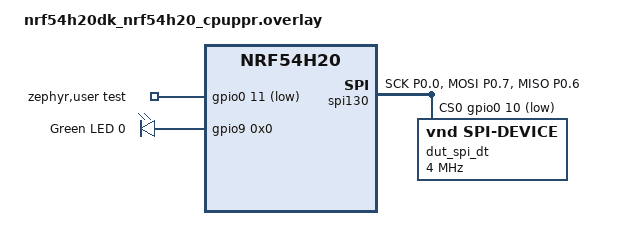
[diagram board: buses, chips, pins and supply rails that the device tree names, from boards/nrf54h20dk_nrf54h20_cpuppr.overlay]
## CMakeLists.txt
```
#
# Copyright (c) 2024 Nordic Semiconductor ASA
#
# SPDX-License-Identifier: LicenseRef-Nordic-5-Clause
#

cmake_minimum_required(VERSION 3.20.0)

find_package(Zephyr REQUIRED HINTS $ENV{ZEPHYR_BASE})

if(NOT SYSBUILD)
  message(FATAL_ERROR
    " This is a multi-image application that should be built using sysbuild.\n"
    " Add --sysbuild argument to west build command to prepare all the images."
  )
endif()

project(idle_spim_loopback)

target_sources(app PRIVATE src/main.c)
```

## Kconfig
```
#
# Copyright (c) 2024 Nordic Semiconductor ASA
#
# SPDX-License-Identifier: LicenseRef-Nordic-5-Clause
#

config TEST_SLEEP_DURATION_MS
	int "Amount of time (in milliseconds) the core is sleeping"
	default 1000
	help
	  Set sleep duration to TEST_SLEEP_DURATION_MS milliseconds.
	  Based on the value of 'min-residency-us' specified for each power state defined in the DTS,
	  core enters the lowest possible power state.

config DATA_FIELD
	int "Number of bytes exchanged in single SPI transceive operation"
	default 4
	help
	  Set number of bytes exchanged in single spi_transceive() operation.
	  Values from 1 to 16 bytes are confirmed to work correctly.

config TEST_SPI_HOLD_ON_CS
	bool "Enable / Disable test for SPI chip select hold"
	help
	  By default, each spi_transceive_dt() activates SPI CS signal before transmission and
	  deactivates it after the transmission has completed.
	  When this KConfig is enabled, first SPI transmission activates SPI CS signal and
	  it is kept active until spi_release() is executed.

config TEST_SPI_LOCK_ON
	bool "Test with SPI lock enabled/disabled"
	help
	  Keep the device locked after the transaction for the current config.
	  When this KConfig is enabled, SPI device is locked until spi_release() is executed.

config TEST_SPI_RELEASE_BEFORE_SLEEP
	bool "Enable / Disable release of the SPI device"
	depends on TEST_SPI_HOLD_ON_CS || TEST_SPI_LOCK_ON
	default y
	help
	  When this KConfig is enabled, SPI is released before entering low power state.
	  When TEST_SPI_HOLD_ON_CS=y and TEST_SPI_RELEASE_BEFORE_SLEEP=y then
	  each test iteration will see one rising and one falling edge on SPI CS signal.
	  When TEST_SPI_HOLD_ON_CS=y and TEST_SPI_RELEASE_BEFORE_SLEEP=n then
	  first test iteration will see SPI CS signal activation. Next test iterations
	  will NOT observe changes on SPI CS signal.

config APP_PROVIDE_PM_HOOKS
	bool "Application provides PM hooks"
	default y if SOC_NRF54H20_CPUPPR
	select HAS_PM
	select HAS_POWEROFF

source "Kconfig.zephyr"
```

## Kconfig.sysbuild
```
#
# Copyright (c) 2026 Nordic Semiconductor ASA
#
# SPDX-License-Identifier: LicenseRef-Nordic-5-Clause
#

if SUPPORT_NETCORE

choice NETCORE
	default NETCORE_REMOTE_SLEEP_FOREVER

config NETCORE_REMOTE_SLEEP_FOREVER
	bool "Remote sleep forever image"

endchoice

config NETCORE_IMAGE_NAME
	default "remote_sleep_forever" if NETCORE_REMOTE_SLEEP_FOREVER

config NETCORE_IMAGE_PATH
	default "$(ZEPHYR_NRF_MODULE_DIR)/tests/benchmarks/power_consumption/common/remote_sleep_forever" if NETCORE_REMOTE_SLEEP_FOREVER

endif # SUPPORT_NETCORE

if SUPPORT_PPRCORE

choice PPRCORE
	default PPRCORE_REMOTE_SLEEP_FOREVER if SOC_NRF9251_CPUAPP
	default PPRCORE_NONE

config PPRCORE_REMOTE_SLEEP_FOREVER
	bool "Remote sleep forever image"

endchoice

config PPRCORE_IMAGE_NAME
	default "remote_sleep_forever" if PPRCORE_REMOTE_SLEEP_FOREVER

config PPRCORE_IMAGE_PATH
	default "$(ZEPHYR_NRF_MODULE_DIR)/tests/benchmarks/power_consumption/common/remote_sleep_forever" if PPRCORE_REMOTE_SLEEP_FOREVER

endif # SUPPORT_PPRCORE

source "share/sysbuild/Kconfig"
```

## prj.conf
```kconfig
CONFIG_PRINTK=y
CONFIG_LOG=y
CONFIG_SPI=y
CONFIG_GPIO=y
CONFIG_ASSERT=y
```

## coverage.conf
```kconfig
CONFIG_SOC_NRF54H20_CPURAD_ENABLE=y
CONFIG_SPI=y
CONFIG_GPIO=y

CONFIG_PM=y
CONFIG_PM_DEVICE=y
CONFIG_PM_DEVICE_RUNTIME=y
CONFIG_POWEROFF=y

CONFIG_BOOT_BANNER=n
CONFIG_NCS_BOOT_BANNER=n
CONFIG_ASSERT=n
CONFIG_CLOCK_CONTROL=n

CONFIG_PRINTK=y
CONFIG_LOG=n
CONFIG_CONSOLE=y
CONFIG_UART_CONSOLE=y

CONFIG_LOG_BUFFER_SIZE=16384
```

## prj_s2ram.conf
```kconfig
CONFIG_PM=y
CONFIG_POWEROFF=y

CONFIG_PM_DEVICE=y
CONFIG_PM_DEVICE_RUNTIME=y

# Enable for debugging purposes only
CONFIG_BOOT_BANNER=n
CONFIG_NCS_BOOT_BANNER=n
CONFIG_PRINTK=n
CONFIG_LOG=n
CONFIG_CONSOLE=n
CONFIG_UART_CONSOLE=n
CONFIG_SERIAL=n

CONFIG_SPI=y
CONFIG_GPIO=y
CONFIG_ASSERT=y
```

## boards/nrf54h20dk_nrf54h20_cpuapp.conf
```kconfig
#
# Copyright (c) 2025 Nordic Semiconductor ASA
#
# SPDX-License-Identifier: LicenseRef-Nordic-5-Clause
#

CONFIG_SOC_NRF54H20_CPURAD_ENABLE=y
CONFIG_PM=y
CONFIG_PM_DEVICE=y
CONFIG_PM_DEVICE_RUNTIME=y
CONFIG_POWEROFF=y
```

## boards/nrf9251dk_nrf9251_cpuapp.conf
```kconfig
#
# Copyright (c) 2026 Nordic Semiconductor ASA
#
# SPDX-License-Identifier: LicenseRef-Nordic-5-Clause
#

CONFIG_PM=y
CONFIG_PM_DEVICE=y
CONFIG_PM_DEVICE_RUNTIME=y
CONFIG_POWEROFF=y
```

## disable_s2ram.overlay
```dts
&s2ram {
	status = "disabled";
};
```

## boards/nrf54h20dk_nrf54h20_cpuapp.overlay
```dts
/*
 * Copyright (c) 2024 Nordic Semiconductor ASA
 *
 * SPDX-License-Identifier: LicenseRef-Nordic-5-Clause
 */

/* Test requires two wire connections:
 *  - SPIM_MOSI with SPIM_MISO -> P0.07 - P0.06;
 *  - SPI cs-gpios with test-gpios -> P0.10 - P0.11.
 * Test-gpios and cs-gpios must have identical active level flag.
 */

/ {
	aliases {
		led = &led0;
		/delete-property/ led1;
	};

	zephyr,user {
		test-gpios = <&gpio0 11 GPIO_ACTIVE_LOW>;
	};
};

/delete-node/ &led1;

&gpiote130 {
	status = "okay";
	owned-channels = <0>;
};

&pinctrl {
	spi130_default_alt: spi130_default_alt {
		group1 {
			psels = <NRF_PSEL(SPIM_SCK, 0, 0)>,
				<NRF_PSEL(SPIM_MOSI, 0, 7)>,
				<NRF_PSEL(SPIM_MISO, 0, 6)>;
		};
	};

	spi130_sleep_alt: spi130_sleep_alt {
		group1 {
			psels = <NRF_PSEL(SPIM_SCK, 0, 0)>,
				<NRF_PSEL(SPIM_MISO, 0, 6)>,
				<NRF_PSEL(SPIM_MOSI, 0, 7)>;
			low-power-enable;
		};
	};
};

&spi130 {
	compatible = "nordic,nrf-spim";
	status = "okay";
	pinctrl-0 = <&spi130_default_alt>;
	pinctrl-1 = <&spi130_sleep_alt>;
	pinctrl-names = "default", "sleep";
	overrun-character = <0x00>;
	memory-regions = <&cpuapp_dma_region>;
	cs-gpios = <&gpio0 10 GPIO_ACTIVE_LOW>;
	zephyr,pm-device-runtime-auto;

	dut_spi_dt: test-spi-dev@0 {
		compatible = "vnd,spi-device";
		reg = <0>;
		spi-max-frequency = <DT_FREQ_M(4)>;
	};
};
```

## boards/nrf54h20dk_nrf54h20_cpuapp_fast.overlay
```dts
/*
 * Copyright (c) 2024 Nordic Semiconductor ASA
 *
 * SPDX-License-Identifier: LicenseRef-Nordic-5-Clause
 */

/* Test requires two wire connections:
 *  - SPIM_MOSI with SPIM_MISO -> P7.06 - P7.07;
 *  - SPI cs-gpios with test-gpios -> P0.10 - P0.11.
 * Test-gpios and cs-gpios must have identical active level flag.
 */

/ {
	aliases {
		led = &led0;
		/delete-property/ led1;
	};

	zephyr,user {
		test-gpios = <&gpio0 11 GPIO_ACTIVE_HIGH>;
	};
};

/delete-node/ &led1;

&gpiote130 {
	status = "okay";
	owned-channels = <0>;
};

&pinctrl {
	spi120_default: spi120_default {
		group1 {
			psels = <NRF_PSEL(SPIM_SCK, 7, 3)>,
				<NRF_PSEL(SPIM_MISO, 7, 6)>,
				<NRF_PSEL(SPIM_MOSI, 7, 7)>;
		};
	};

	spi120_sleep: spi120_sleep {
		group1 {
			psels = <NRF_PSEL(SPIM_SCK, 7, 3)>,
				<NRF_PSEL(SPIM_MISO, 7, 6)>,
				<NRF_PSEL(SPIM_MOSI, 7, 7)>;
			low-power-enable;
		};
	};
};

&spi130 {
	status = "disabled";
	/delete-property/ dut_spi_dt;
};

&spi120 {
	compatible = "nordic,nrf-spim";
	status = "okay";
	pinctrl-0 = <&spi120_default>;
	pinctrl-1 = <&spi120_sleep>;
	pinctrl-names = "default", "sleep";
	overrun-character = <0x00>;
	memory-regions = <&dma_fast_region>;
	cs-gpios = <&gpio0 10 GPIO_ACTIVE_HIGH>;
	zephyr,pm-device-runtime-auto;

	dut_spi_dt: test-spi-dev@0 {
		compatible = "vnd,spi-device";
		reg = <0>;
		spi-max-frequency = <DT_FREQ_M(4)>;
	};
};

&dma_fast_region {
	status = "okay";
};
```

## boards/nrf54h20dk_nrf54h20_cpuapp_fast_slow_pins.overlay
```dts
/*
 * Copyright (c) 2024 Nordic Semiconductor ASA
 *
 * SPDX-License-Identifier: LicenseRef-Nordic-5-Clause
 */

/* Test requires two wire connections:
 *  - SPIM_MOSI with SPIM_MISO -> P... - P...;
 *  - SPI cs-gpios with test-gpios -> P0.10 - P0.11.
 * Test-gpios and cs-gpios must have identical active level flag.
 */

/ {
	aliases {
		led = &led0;
		/delete-property/ led1;
	};

	zephyr,user {
		test-gpios = <&gpio0 11 GPIO_ACTIVE_HIGH>;
	};
};

/delete-node/ &led1;

&gpiote130 {
	status = "okay";
	owned-channels = <0>;
};

&pinctrl {
	spi121_default: spi121_default {
		group1 {
			psels = <NRF_PSEL(SPIM_MISO, 2, 10)>;
		};

		group2 {
			psels = <NRF_PSEL(SPIM_SCK, 2, 2)>,
				<NRF_PSEL(SPIM_MOSI, 2, 11)>;
			nordic,drive-mode = <NRF_DRIVE_H0H1>;
		};
	};

	spi121_sleep: spi121_sleep {
		group1 {
			psels = <NRF_PSEL(SPIM_SCK, 2, 2)>,
				<NRF_PSEL(SPIM_MISO, 2, 10)>,
				<NRF_PSEL(SPIM_MOSI, 2, 11)>;
			low-power-enable;
		};
	};
};

&spi130 {
	status = "disabled";
	/delete-property/ dut_spi_dt;
};

&spi120 {
	status = "disabled";
};

&spi121 {
	compatible = "nordic,nrf-spim";
	status = "okay";
	pinctrl-0 = <&spi121_default>;
	pinctrl-1 = <&spi121_sleep>;
	pinctrl-names = "default", "sleep";
	overrun-character = <0x00>;
	memory-regions = <&dma_fast_region>;
	cs-gpios = <&gpio0 10 GPIO_ACTIVE_HIGH>;
	zephyr,pm-device-runtime-auto;

	dut_spi_dt: test-spi-dev@0 {
		compatible = "vnd,spi-device";
		reg = <0>;
		spi-max-frequency = <DT_FREQ_M(4)>;
	};
};

&dma_fast_region {
	status = "okay";
};
```

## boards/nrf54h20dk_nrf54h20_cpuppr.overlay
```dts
/*
 * Copyright (c) 2025 Nordic Semiconductor ASA
 *
 * SPDX-License-Identifier: LicenseRef-Nordic-5-Clause
 */

/* Test requires two wire connections:
 *  - SPIM_MOSI with SPIM_MISO -> P0.07 - P0.06;
 *  - SPI cs-gpios with test-gpios -> P0.10 - P0.11.
 * Test-gpios and cs-gpios must have identical active level flag.
 */

/ {
	zephyr,user {
		test-gpios = <&gpio0 11 GPIO_ACTIVE_LOW>;
	};

	aliases {
		led = &led0;
	};

	leds {
		compatible = "gpio-leds";

		led0: led_0 {
			gpios = <&gpio9 0x0 0x0>;
			label = "Green LED 0";
		};
	};
};

&gpio0 {
	status = "okay";
};

&gpio9 {
	status = "okay";
};

&gpiote130 {
	status = "okay";
	owned-channels = <6>;
};

&pinctrl {
	spi130_default_alt: spi130_default_alt {
		group1 {
			psels = <NRF_PSEL(SPIM_SCK, 0, 0)>,
				<NRF_PSEL(SPIM_MOSI, 0, 7)>,
				<NRF_PSEL(SPIM_MISO, 0, 6)>;
		};
	};

	spi130_sleep_alt: spi130_sleep_alt {
		group1 {
			psels = <NRF_PSEL(SPIM_SCK, 0, 0)>,
				<NRF_PSEL(SPIM_MISO, 0, 6)>,
				<NRF_PSEL(SPIM_MOSI, 0, 7)>;
			low-power-enable;
		};
	};
};

&spi130 {
	compatible = "nordic,nrf-spim";
	status = "okay";
	pinctrl-0 = <&spi130_default_alt>;
	pinctrl-1 = <&spi130_sleep_alt>;
	pinctrl-names = "default", "sleep";
	overrun-character = <0x00>;
	cs-gpios = <&gpio0 10 GPIO_ACTIVE_LOW>;

	dut_spi_dt: test-spi-dev@0 {
		compatible = "vnd,spi-device";
		reg = <0>;
		spi-max-frequency = <DT_FREQ_M(4)>;
	};
};
```

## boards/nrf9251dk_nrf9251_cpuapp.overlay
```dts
/*
 * Copyright (c) 2026 Nordic Semiconductor ASA
 *
 * SPDX-License-Identifier: LicenseRef-Nordic-5-Clause
 */

/* Test requires two wire connections:
 *  - SPIM_MOSI with SPIM_MISO -> P2.03 - P2.09;
 *  - SPI cs-gpios with test-gpios -> P1.00 - P1.01.
 * Test-gpios and cs-gpios must have identical active level flag.
 */

/ {
	aliases {
		led = &led0;
	};

	zephyr,user {
		test-gpios = <&gpio1 1 GPIO_ACTIVE_LOW>;
	};
};

&gpiote130 {
	status = "okay";
};

&gpio1 {
	status = "okay";
};

&pinctrl {
	spi130_default_alt: spi130_default_alt {
		group1 {
			psels = <NRF_PSEL(SPIM_SCK, 1, 3)>,
				<NRF_PSEL(SPIM_MOSI, 2, 3)>,
				<NRF_PSEL(SPIM_MISO, 2, 9)>;
		};
	};

	spi130_sleep_alt: spi130_sleep_alt {
		group1 {
			psels = <NRF_PSEL(SPIM_SCK, 1, 3)>,
				<NRF_PSEL(SPIM_MOSI, 2, 3)>,
				<NRF_PSEL(SPIM_MISO, 2, 9)>;
			low-power-enable;
		};
	};
};

&spi130 {
	compatible = "nordic,nrf-spim";
	status = "okay";
	pinctrl-0 = <&spi130_default_alt>;
	pinctrl-1 = <&spi130_sleep_alt>;
	pinctrl-names = "default", "sleep";
	overrun-character = <0x00>;
	memory-regions = <&cpuapp_dma_region>;
	cs-gpios = <&gpio1 0 GPIO_ACTIVE_LOW>;
	zephyr,pm-device-runtime-auto;

	dut_spi_dt: test-spi-dev@0 {
		compatible = "vnd,spi-device";
		reg = <0>;
		spi-max-frequency = <DT_FREQ_M(4)>;
	};
};

&cpuppr_vpr {
	status = "okay";
};

&uart132 {
	status = "reserved";
	interrupt-parent = <&cpuppr_clic>;
};
```

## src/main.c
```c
/*
 * Copyright (c) 2024 Nordic Semiconductor ASA
 *
 * SPDX-License-Identifier: LicenseRef-Nordic-5-Clause
 */

#include <zephyr/logging/log.h>
LOG_MODULE_REGISTER(idle_spim_loopback, LOG_LEVEL_INF);

#include <zephyr/kernel.h>
#include <zephyr/drivers/gpio.h>
#include <zephyr/drivers/spi.h>
#include <zephyr/pm/device_runtime.h>
#include <dmm.h>

static const struct gpio_dt_spec led = GPIO_DT_SPEC_GET(DT_ALIAS(led), gpios);

#define DELTA (1)

#define SPI_MODE_DEFAULT                                                                           \
	(SPI_OP_MODE_CONTROLLER | SPI_WORD_SET(8) | SPI_LINES_SINGLE | SPI_TRANSFER_MSB |      \
	 SPI_MODE_CPHA | SPI_MODE_CPOL)

#if defined(CONFIG_TEST_SPI_HOLD_ON_CS) && defined(CONFIG_TEST_SPI_LOCK_ON)
#define SPI_MODE (SPI_MODE_DEFAULT | SPI_HOLD_ON_CS | SPI_LOCK_ON)
#elif defined(CONFIG_TEST_SPI_HOLD_ON_CS) && !defined(CONFIG_TEST_SPI_LOCK_ON)
#define SPI_MODE (SPI_MODE_DEFAULT | SPI_HOLD_ON_CS)
#elif !defined(CONFIG_TEST_SPI_HOLD_ON_CS) && defined(CONFIG_TEST_SPI_LOCK_ON)
#define SPI_MODE (SPI_MODE_DEFAULT | SPI_LOCK_ON)
#else
#define SPI_MODE (SPI_MODE_DEFAULT)
#endif

#if CONFIG_DATA_FIELD == 4
#if DT_PROP(DT_BUS(DT_NODELABEL(dut_spi_dt)), max_frequency) == 32000000
/* fast instance */
#define EXPECTED_TRANSCEIVE_COUNT 13700
#else
/* slow instance */
#define EXPECTED_TRANSCEIVE_COUNT 12500
#endif
#endif

#if CONFIG_DATA_FIELD == 16
#if DT_PROP(DT_BUS(DT_NODELABEL(dut_spi_dt)), max_frequency) == 32000000
/* fast instance */
#define EXPECTED_TRANSCEIVE_COUNT 8800
#else
/* slow instance */
#define EXPECTED_TRANSCEIVE_COUNT 8450
#endif
#endif

static struct spi_dt_spec spim_spec = SPI_DT_SPEC_GET(DT_NODELABEL(dut_spi_dt), SPI_MODE);

static const struct gpio_dt_spec pin_in = GPIO_DT_SPEC_GET(DT_PATH(zephyr_user), test_gpios);

static uint8_t spim_buffer[2 * CONFIG_DATA_FIELD]
	DMM_MEMORY_SECTION(DT_BUS(DT_NODELABEL(dut_spi_dt)));

/* Variables used to count edges on SPI CS */
static struct gpio_callback gpio_input_cb_data;
static volatile uint32_t high, low;

/* Variables used to make SPI active for ~1 second */
static struct k_timer my_timer;
static volatile bool timer_expired;

void my_timer_handler(struct k_timer *dummy)
{
	timer_expired = true;
}

void gpio_input_edge_callback(const struct device *dev, struct gpio_callback *cb, uint32_t pins)
{
	uint32_t pin = 0;

	while (pins >>= 1) {
		pin++;
	}

	/* Get pin RAW to confirm pin polarity */
	if (gpio_pin_get_raw(dev, pin)) {
		high++;
	} else {
		low++;
	}
}

int main(void)
{
	int ret;
	uint32_t loop_counter = 0;
	uint32_t transceive_counter;
	uint8_t switch_flag;
	uint8_t acc = 0;
	bool test_pass;
	int test_repetitions = 3;

	/* SPI buffer sets */
	struct spi_buf tx_spi_buf = {.buf = &spim_buffer[0], .len = CONFIG_DATA_FIELD};
	struct spi_buf_set tx_spi_buf_set = {.buffers = &tx_spi_buf, .count = 1};

	struct spi_buf rx_spi_buf = {.buf = &spim_buffer[CONFIG_DATA_FIELD],
				     .len = CONFIG_DATA_FIELD};
	struct spi_buf_set rx_spi_buf_set = {.buffers = &rx_spi_buf, .count = 1};

	ret = gpio_is_ready_dt(&led);
	__ASSERT(ret, "Error: GPIO Device not ready");

	ret = gpio_pin_configure_dt(&led, GPIO_OUTPUT_ACTIVE);
	__ASSERT(ret == 0, "Could not configure led GPIO");

	LOG_INF("Multicore idle_spi_loopback test on %s", CONFIG_BOARD_TARGET);
	LOG_INF("Core will sleep for %u ms", CONFIG_TEST_SLEEP_DURATION_MS);
	LOG_INF("Testing SPIM device %s", spim_spec.bus->name);
	LOG_INF("GPIO loopback at %s, pin %d", pin_in.port->name, pin_in.pin);
	LOG_INF("%d bytes of data exchanged at once", CONFIG_DATA_FIELD);
	LOG_INF("Expect at least %d transceives during one run", EXPECTED_TRANSCEIVE_COUNT);
#if defined(CONFIG_TEST_SPI_HOLD_ON_CS)
	LOG_INF("SPI CS lock enabled");
#endif
#if defined(CONFIG_TEST_SPI_LOCK_ON)
	LOG_INF("SPI LOCK enabled");
#endif
#if !defined(CONFIG_TEST_SPI_RELEASE_BEFORE_SLEEP)
	LOG_INF("SPI is never released");
#endif
	LOG_INF("===================================================================");

	/* Arbitrary sleep to fix CI synchronization. */
	k_msleep(100);

	ret = spi_is_ready_dt(&spim_spec);
	if (!ret) {
		LOG_ERR("Error: SPI device is not ready");
	}
	__ASSERT_NO_MSG(ret);

	ret = gpio_is_ready_dt(&pin_in);
	if (!ret) {
		LOG_ERR("Device %s is not ready.", pin_in.port->name);
	}
	__ASSERT_NO_MSG(ret);

	/* Configure gpio and init GPIOTE callback. */
	ret = gpio_pin_configure_dt(&pin_in, GPIO_INPUT);
	if (ret) {
		LOG_ERR("gpio_pin_configure_dt() has failed (%d)", ret);
	}
	__ASSERT_NO_MSG(ret == 0);

	gpio_init_callback(&gpio_input_cb_data, gpio_input_edge_callback, BIT(pin_in.pin));

	k_timer_init(&my_timer, my_timer_handler, NULL);

#if defined(CONFIG_COVERAGE)
	printk("Coverage analysis enabled\n");
	while (test_repetitions--)
#else
	/* Run test forever. */
	while (test_repetitions)
#endif
	{
		switch_flag = 1;
		test_pass = true;
		timer_expired = false;

		/* Clear counters. */
		high = 0;
		low = 0;
		transceive_counter = 0;

		/* Start a one-shot timer that expires after 1 second. */
		k_timer_start(&my_timer, K_MSEC(1000), K_NO_WAIT);

		/* Configure and enable GPIOTE. */
		ret = gpio_pin_interrupt_configure_dt(&pin_in, GPIO_INT_EDGE_BOTH);
		if (ret) {
			LOG_ERR("gpio_pin_interrupt_configure_dt() has failed (%d)", ret);
		}
		__ASSERT_NO_MSG(ret == 0);

		ret = gpio_add_callback(pin_in.port, &gpio_input_cb_data);
		if (ret) {
			LOG_ERR("gpio_add_callback() has failed (%d)", ret);
		}
		__ASSERT_NO_MSG(ret == 0);

		/* SPI active transmissions for ~ 1 second. */
		while (!timer_expired) {
			/* Generate pseudo random tx_data for current test. */
			for (int i = 0; i < CONFIG_DATA_FIELD; i++) {
				*((uint8_t *)tx_spi_buf.buf + i) = acc;
				acc += DELTA;
			}

			/* Transmit data. */
			ret = spi_transceive_dt(&spim_spec, &tx_spi_buf_set, &rx_spi_buf_set);
			if (ret == 0) {
				transceive_counter++;
			} else {
				LOG_ERR("spi_transceive_dt, err: %d", ret);
			}

			__ASSERT(ret == 0, "Error: spi_transceive_dt, err: %d\n", ret);

			/* Check if the received data is consistent with the data sent. */
			for (int i = 0; i < CONFIG_DATA_FIELD; i++) {
				uint8_t received = *((uint8_t *)rx_spi_buf.buf + i);
				uint8_t transmitted = *((uint8_t *)tx_spi_buf.buf + i);

				if (received != transmitted) {
					LOG_ERR("FAIL: rx[%d] = %d, expected %d", i, received,
						transmitted);
					test_pass = false;
					__ASSERT(false, "Run %d - FAILED\n", loop_counter);
				}
			}

#if defined(CONFIG_TEST_SPI_HOLD_ON_CS)
			/* At least one SPI transmission has already happened.
			 * When SPI is configured with SPI_HOLD_ON_CS
			 * then SPI CS signal shall be active here.
			 */
			int temp_pin_value = gpio_pin_get_raw(pin_in.port, pin_in.pin);
			int expected_pin_value;

			if (pin_in.dt_flags & GPIO_ACTIVE_LOW) {
				/* GPIO_ACTIVE_LOW */
				expected_pin_value = 0;
			} else {
				/* GPIO_ACTIVE_HIGH */
				expected_pin_value = 1;
			}

			if (temp_pin_value != expected_pin_value) {
				LOG_ERR("SPI CS signal is %d, while expected is %d", temp_pin_value,
					expected_pin_value);
			}
			__ASSERT_NO_MSG(temp_pin_value == expected_pin_value);
#endif
		} /* while (!timer_expired) */

#if defined(CONFIG_TEST_SPI_RELEASE_BEFORE_SLEEP)
		/* Release SPI Chip Select / SPI device. */
		ret = spi_release_dt(&spim_spec);
		if (ret != 0) {
			LOG_ERR("spi_release_dt(), err: %d", ret);
		}
		__ASSERT_NO_MSG(ret == 0);
#endif

		/* Disable GPIOTE interrupt. */
		ret = gpio_remove_callback(pin_in.port, &gpio_input_cb_data);
		if (ret) {
			LOG_ERR("gpio_remove_callback() has failed (%d)", ret);
		}
		__ASSERT_NO_MSG(ret == 0);

		ret = gpio_pin_interrupt_configure_dt(
			&pin_in, GPIO_INT_DISABLE | GPIO_INT_LEVELS_LOGICAL | GPIO_INT_HIGH_1);
		if (ret) {
			LOG_ERR("gpio_pin_interrupt_configure_dt() has failed (%d)", ret);
		}
		__ASSERT_NO_MSG(ret == 0);

		if (transceive_counter < EXPECTED_TRANSCEIVE_COUNT) {
			test_pass = false;
		}

		/* Report if communication was successful. */
		if (test_pass) {
			LOG_INF("Run %d - PASS; transceives: %u, CS rising: %u, falling %u",
				loop_counter, transceive_counter, high, low);
		} else {
			LOG_INF("Run %d - FAILED; transceives: %u, CS rising: %u, falling %u",
				loop_counter, transceive_counter, high, low);
		}

#if defined(CONFIG_TEST_SPI_HOLD_ON_CS)
		/* When SPI is configured with SPI_HOLD_ON_CS:
		 * - first spi_transceive_dt() activates SPI CS signal;
		 * - following spi_transceive_dt() calls don't change SPI CS state;
		 * - SPI CS signal is deactivated by spi_release_dt().
		 */
#if defined(CONFIG_TEST_SPI_RELEASE_BEFORE_SLEEP)
		/* Every test iteration will see one SPI CS activation and one deactivation. */
		__ASSERT_NO_MSG(high == 1);
		__ASSERT_NO_MSG(low == 1);
#else  /* defined(CONFIG_TEST_SPI_RELEASE_BEFORE_SLEEP) */
		/* SPI CS gets activated in the first iteration and stays active forever. */
		if (loop_counter == 0) {
			/* Observed edge depends on GPIO polarity. */
			if (pin_in.dt_flags & GPIO_ACTIVE_LOW) {
				/* GPIO_ACTIVE_LOW */
				__ASSERT_NO_MSG(high == 0);
				__ASSERT_NO_MSG(low == 1);
			} else {
				/* GPIO_ACTIVE_HIGH */
				__ASSERT_NO_MSG(high == 1);
				__ASSERT_NO_MSG(low == 0);
			}
		} else {
			__ASSERT_NO_MSG(high == 0);
			__ASSERT_NO_MSG(low == 0);
		}
#endif /* defined(CONFIG_TEST_SPI_RELEASE_BEFORE_SLEEP) */
#else
		/* SPI was active for ~1 second with separate SPI CS activations
		 * for each spi_transceive_dt() call.
		 */
#if !defined(CONFIG_RISCV_CORE_NORDIC_VPR)
		/* Workaround for GPIOTE interrupts not routed to PPR (NCSDK-35979).
		 * Skip checking number of SPI CS edges on nrf54H20/nrf9251 cpuppr.
		 */
		__ASSERT_NO_MSG(high >= 100);
		__ASSERT_NO_MSG(low >= 100);
#endif /* !defined(CONFIG_RISCV_CORE_NORDIC_VPR) */
		__ASSERT_NO_MSG(low == high);
#endif
		loop_counter++;

		/* Sleep / enter low power state. */
		gpio_pin_set_dt(&led, 0);
		k_msleep(CONFIG_TEST_SLEEP_DURATION_MS);
		gpio_pin_set_dt(&led, 1);
	}

#if defined(CONFIG_COVERAGE)
	printk("Coverage analysis start\n");
#endif
	return 0;
}
```
